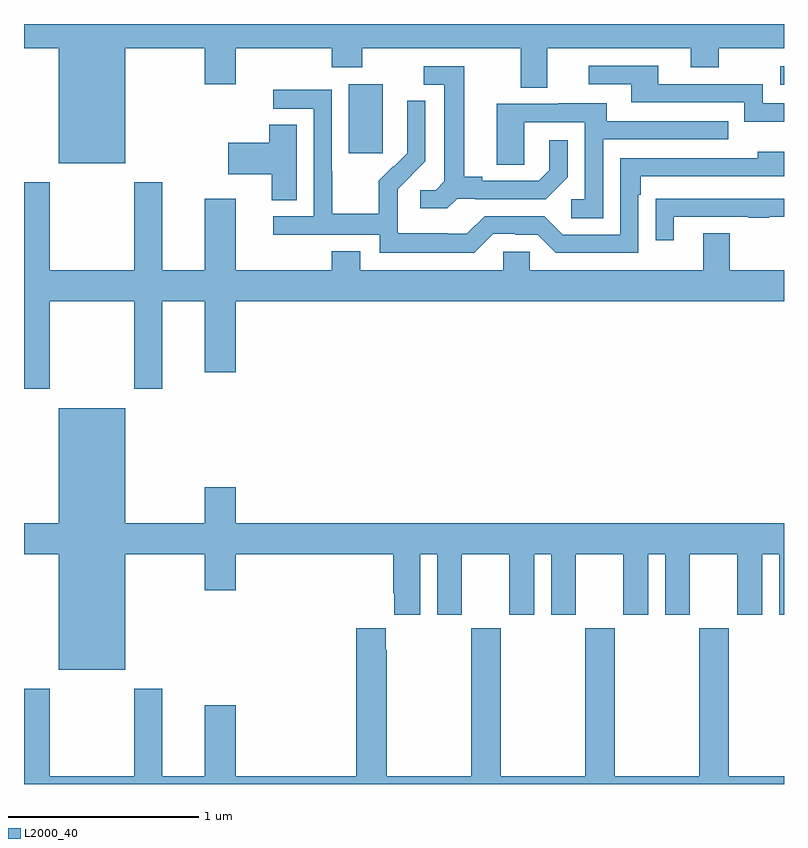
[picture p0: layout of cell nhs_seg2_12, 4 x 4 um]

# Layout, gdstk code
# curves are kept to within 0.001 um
import gdstk
lib = gdstk.Library(unit=1e-6, precision=1e-09)
def R(c, l, rs):  # rectangles x0, y0, x1, y1
    for r in rs: c.add(gdstk.rectangle(r[:2], r[2:], *l))
def P(c, l, *ps):  # polygons
    for p in ps: c.add(gdstk.Polygon(p, *l))
L2000_40 = (2000, 40)

nhs_seg2_12 = lib.new_cell('nhs_seg2_12')
R(nhs_seg2_12, L2000_40, [(112.709,611.121,112.888,611.482), (114.981,611.481,115,611.577)])
P(nhs_seg2_12, L2000_40, [(111.532,611.672),(111.95,611.672),(111.95,611.484),(112.114,611.484),(112.114,611.672),(112.619,611.672),(112.619,611.573),(112.779,611.573),(112.779,611.672),(113.615,611.672),(113.615,611.464),(113.755,611.464),(113.755,611.672),(114.509,611.672),(114.509,611.573),(114.657,611.573),(114.657,611.672),(115,611.672),(115,611.8),(111,611.8),(111,611.672),(111.182,611.672),(111.182,611.066),(111.532,611.066)],
  [(115,611.382),(114.888,611.382),(114.888,611.484),(114.337,611.484),(114.337,611.58),(113.973,611.58),(113.973,611.484),(114.197,611.484),(114.197,611.388),(114.792,611.388),(114.792,611.285),(115,611.285)],
  [(113.28,610.881),(113.374,610.881),(113.374,610.878),(113.746,610.878),(113.862,610.994),(113.862,611.188),(113.765,611.188),(113.765,611.031),(113.708,610.974),(113.413,610.974),(113.413,610.997),(113.317,610.997),(113.317,611.577),(113.103,611.577),(113.103,611.481),(113.213,611.481),(113.213,610.973),(113.166,610.926),(113.085,610.926),(113.085,610.829),(113.228,610.829)],
  [(113.469,610.695),(113.585,610.695),(113.585,610.692),(113.703,610.692),(113.799,610.596),(114.234,610.596),(114.234,610.901),(114.247,610.901),(114.247,610.998),(115,610.998),(115,611.128),(114.863,611.128),(114.863,611.094),(114.138,611.094),(114.138,610.692),(113.835,610.692),(113.739,610.788),(113.424,610.788),(113.331,610.695),(113.231,610.695),(113.231,610.699),(112.968,610.699),(112.968,610.833),(112.966,610.833),(112.966,610.93),(113.112,611.078),(113.112,611.396),(113.016,611.396),(113.016,611.242),(113.018,611.242),(113.018,611.12),(112.947,611.049),(112.944,611.052),(112.867,610.975),(112.867,610.801),(112.623,610.801),(112.623,611.024),(112.62,611.024),(112.62,611.454),(112.311,611.454),(112.311,611.355),(112.524,611.355),(112.524,610.788),(112.311,610.788),(112.311,610.692),(112.872,610.692),(112.872,610.595),(113.369,610.595)],
  [(114.048,611.193),(114.707,611.193),(114.707,611.289),(114.067,611.289),(114.067,611.383),(113.813,611.383),(113.813,611.379),(113.489,611.379),(113.489,611.059),(113.634,611.059),(113.634,611.283),(113.952,611.283),(113.952,610.878),(113.88,610.878),(113.88,610.777),(114.048,610.777)],
  [(112.435,611.27),(112.292,611.27),(112.292,611.175),(112.074,611.175),(112.074,611.009),(112.304,611.009),(112.304,610.873),(112.435,610.873)],
  [(111.135,610.34),(111.58,610.34),(111.58,609.879),(111.727,609.879),(111.727,610.34),(111.95,610.34),(111.95,609.966),(112.114,609.966),(112.114,610.34),(115,610.34),(115,610.504),(114.715,610.504),(114.715,610.699),(114.575,610.699),(114.575,610.504),(113.661,610.504),(113.661,610.602),(113.523,610.602),(113.523,610.504),(112.771,610.504),(112.771,610.603),(112.619,610.603),(112.619,610.504),(112.114,610.504),(112.114,610.879),(111.95,610.879),(111.95,610.504),(111.727,610.504),(111.727,610.966),(111.58,610.966),(111.58,610.504),(111.135,610.504),(111.135,610.966),(111,610.966),(111,609.879),(111.135,609.879)],
  [(114.421,610.785),(114.811,610.785),(114.811,610.78),(114.923,610.78),(114.923,610.785),(115,610.785),(115,610.881),(114.427,610.881),(114.427,610.88),(114.325,610.88),(114.325,610.662),(114.421,610.662)],
  [(111.532,609.008),(111.95,609.008),(111.95,608.82),(112.114,608.82),(112.114,609.008),(112.943,609.008),(112.943,608.803),(112.949,608.803),(112.949,608.691),(113.086,608.691),(113.086,609.008),(113.174,609.008),(113.174,608.691),(113.305,608.691),(113.305,609.008),(113.555,609.008),(113.555,608.691),(113.686,608.691),(113.686,609.008),(113.774,609.008),(113.774,608.691),(113.905,608.691),(113.905,609.008),(114.155,609.008),(114.155,608.691),(114.286,608.691),(114.286,609.008),(114.374,609.008),(114.374,608.691),(114.505,608.691),(114.505,609.008),(114.755,609.008),(114.755,608.691),(114.886,608.691),(114.886,609.008),(114.974,609.008),(114.974,608.691),(115,608.691),(115,609.172),(112.114,609.172),(112.114,609.361),(111.95,609.361),(111.95,609.172),(111.532,609.172),(111.532,609.778),(111.182,609.778),(111.182,609.172),(111,609.172),(111,609.008),(111.182,609.008),(111.182,608.402),(111.532,608.402)],
  [(115,607.84),(114.708,607.84),(114.708,608.62),(114.553,608.62),(114.553,607.84),(114.108,607.84),(114.108,608.62),(113.953,608.62),(113.953,607.84),(113.508,607.84),(113.508,608.62),(113.353,608.62),(113.353,607.84),(112.908,607.84),(112.908,608.507),(112.903,608.507),(112.903,608.62),(112.748,608.62),(112.748,607.84),(112.114,607.84),(112.114,608.215),(111.95,608.215),(111.95,607.84),(111.727,607.84),(111.727,608.302),(111.58,608.302),(111.58,607.84),(111.135,607.84),(111.135,608.302),(111,608.302),(111,607.8),(115,607.8)])

lib.write_gds('nhs_seg2_12.gds')
